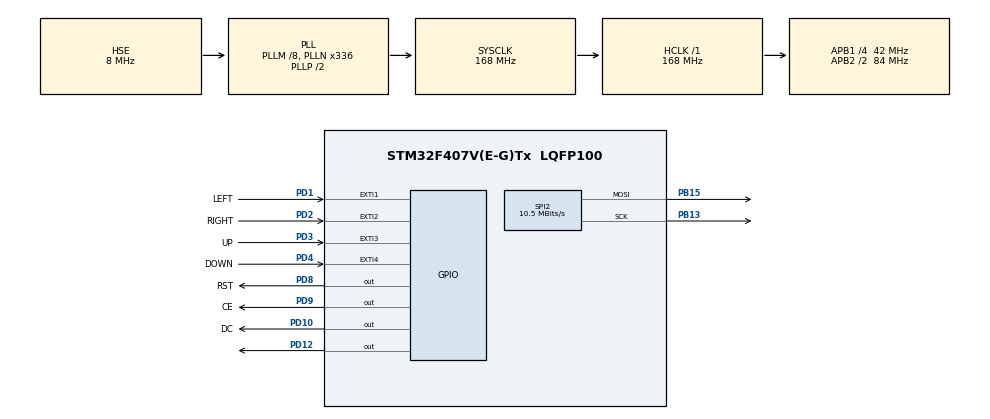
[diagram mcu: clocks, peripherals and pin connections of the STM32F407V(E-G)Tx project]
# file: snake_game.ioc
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Dma.Request0=SPI2_TX
Dma.SPI2_TX.0.Direction=DMA_MEMORY_TO_PERIPH
Dma.SPI2_TX.0.FIFOMode=DMA_FIFOMODE_DISABLE
Dma.SPI2_TX.0.Instance=DMA1_Stream4
Dma.SPI2_TX.0.MemDataAlignment=DMA_MDATAALIGN_BYTE
Dma.SPI2_TX.0.MemInc=DMA_MINC_ENABLE
Dma.SPI2_TX.0.Mode=DMA_NORMAL
Dma.SPI2_TX.0.PeriphDataAlignment=DMA_PDATAALIGN_BYTE
Dma.SPI2_TX.0.PeriphInc=DMA_PINC_DISABLE
Dma.SPI2_TX.0.Priority=DMA_PRIORITY_LOW
Mcu.Family=STM32F4
Mcu.Name=STM32F407V(E-G)Tx
Mcu.Package=LQFP100
NVIC.DMA1_Stream4_IRQn=true\:0\:0\:false\:false\:true\:false\:true
NVIC.EXTI1_IRQn=true\:0\:0\:false\:false\:true\:true\:true
NVIC.EXTI2_IRQn=true\:0\:0\:false\:false\:true\:true\:true
NVIC.EXTI3_IRQn=true\:0\:0\:false\:false\:true\:true\:true
NVIC.EXTI4_IRQn=true\:0\:0\:false\:false\:true\:true\:true
NVIC.PriorityGroup=NVIC_PRIORITYGROUP_4
NVIC.SPI2_IRQn=true\:0\:0\:false\:false\:true\:true\:true
PA13.Mode=Serial_Wire
PA13.Signal=SYS_JTMS-SWDIO
PA14.Mode=Serial_Wire
PA14.Signal=SYS_JTCK-SWCLK
PB13.Mode=TX_Only_Simplex_Unidirect_Master
PB13.Signal=SPI2_SCK
PB15.Mode=TX_Only_Simplex_Unidirect_Master
PB15.Signal=SPI2_MOSI
PC14-OSC32_IN.Mode=LSE-External-Oscillator
PC14-OSC32_IN.Signal=RCC_OSC32_IN
PC15-OSC32_OUT.Mode=LSE-External-Oscillator
PC15-OSC32_OUT.Signal=RCC_OSC32_OUT
PD1.GPIO_Label=LEFT
PD1.Signal=GPXTI1
PD10.GPIO_Label=DC
PD10.Signal=GPIO_Output
PD12.Signal=GPIO_Output
PD2.GPIO_Label=RIGHT
PD2.Signal=GPXTI2
PD3.GPIO_Label=UP
PD3.Signal=GPXTI3
PD4.GPIO_Label=DOWN
PD4.Signal=GPXTI4
PD8.GPIO_Label=RST
PD8.Signal=GPIO_Output
PD9.GPIO_Label=CE
PD9.Signal=GPIO_Output
PH0-OSC_IN.Mode=HSE-External-Oscillator
PH0-OSC_IN.Signal=RCC_OSC_IN
PH1-OSC_OUT.Mode=HSE-External-Oscillator
PH1-OSC_OUT.Signal=RCC_OSC_OUT
ProjectManager.HeapSize=0x200
ProjectManager.StackSize=0x400
ProjectManager.TargetToolchain=MDK-ARM V5.27
RCC.48MHZClocksFreq_Value=84000000
RCC.AHBFreq_Value=168000000
RCC.APB1CLKDivider=RCC_HCLK_DIV4
RCC.APB1Freq_Value=42000000
RCC.APB1TimFreq_Value=84000000
RCC.APB2CLKDivider=RCC_HCLK_DIV2
RCC.APB2Freq_Value=84000000
RCC.APB2TimFreq_Value=168000000
RCC.CortexFreq_Value=168000000
RCC.HCLKFreq_Value=168000000
RCC.HSE_VALUE=8000000
RCC.HSI_VALUE=16000000
RCC.PLLM=8
RCC.PLLN=336
RCC.PLLSourceVirtual=RCC_PLLSOURCE_HSE
RCC.SYSCLKFreq_VALUE=168000000
RCC.SYSCLKSource=RCC_SYSCLKSOURCE_PLLCLK
RCC.VCOOutputFreq_Value=336000000
SPI2.BaudRatePrescaler=SPI_BAUDRATEPRESCALER_4
SPI2.CalculateBaudRate=10.5 MBits/s
SPI2.Direction=SPI_DIRECTION_2LINES
SPI2.Mode=SPI_MODE_MASTER
SPI2.VirtualType=VM_MASTER
board=custom

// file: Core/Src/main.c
/* USER CODE BEGIN Header */
/**
  ******************************************************************************
  * @file           : main.c
  * @brief          : Main program body
  ******************************************************************************
  * @attention
  *
  * <h2><center>&copy; Copyright (c) 2021 STMicroelectronics.
  * All rights reserved.</center></h2>
  *
  * This software component is licensed by ST under BSD 3-Clause license,
  * the "License"; You may not use this file except in compliance with the
  * License. You may obtain a copy of the License at:
  *                        opensource.org/licenses/BSD-3-Clause
  *
  ******************************************************************************
  */
/* USER CODE END Header */
#include "main.h"

/* USER CODE BEGIN Includes */
#include "NOKIA5110.h"
#include "FONT_IMAGE.h"

#include "my_lib.h"
/* USER CODE END Includes */

/* USER CODE BEGIN PTD */
typedef struct Point {
	int x, y;
	int x0, y0;
}Point;
/* USER CODE END PTD */

SPI_HandleTypeDef hspi2;
DMA_HandleTypeDef hdma_spi2_tx;

/* USER CODE BEGIN PV */
int snakeLength; // do dai con ran
int score; // diem
const int DIRECTION = 3;
Point Snake[100]; // con ran
Point direction; // huong di
Point Egg; // do an
int check=0;
/* USER CODE END PV */

void SystemClock_Config(void);
static void MX_GPIO_Init(void);
static void MX_DMA_Init(void);
static void MX_SPI2_Init(void);

/* USER CODE BEGIN 0 */
void drawSnake();
void initGame();
void moveSnake();
void gameOver();

void HAL_GPIO_EXTI_Callback(uint16_t GPIO_Pin)
{
	if(GPIO_Pin == LEFT_Pin)
	{
		HAL_GPIO_TogglePin(GPIOD, GPIO_PIN_12);
		if(direction.x != 3 && direction.y != 0)
		{
			direction.x = -3;
			direction.y = 0;
		}
		for(int i = 0; i < 100000; i++); // Delay
		int timeout;
		while(!HAL_GPIO_ReadPin(GPIOD, GPIO_PIN_1) & (timeout < 50000))
		{
			timeout++;
		}
		EXTI->PR |= GPIO_PIN_1;
	}
	if(GPIO_Pin == RIGHT_Pin)
	{
		HAL_GPIO_TogglePin(GPIOD, GPIO_PIN_12);
		if(direction.x != -3 && direction.y != 0)
		{
			direction.x = 3;
			direction.y = 0;
		}
		for(int i = 0; i < 100000; i++); // Delay
		int timeout;
		while(!HAL_GPIO_ReadPin(GPIOD, GPIO_PIN_2) & (timeout < 50000))
		{
			timeout++;
		}
		EXTI->PR |= GPIO_PIN_2;
	}
	if(GPIO_Pin == UP_Pin)
	{
		HAL_GPIO_TogglePin(GPIOD, GPIO_PIN_12);
		if(direction.x != 0 && direction.y != 3)
		{
			direction.x = 0;
			direction.y = -3;
		}
		for(int i = 0; i < 100000; i++); // Delay
		int timeout;
		while(!HAL_GPIO_ReadPin(GPIOD, GPIO_PIN_3) & (timeout < 50000))
		{
			timeout++;
		}
		EXTI->PR |= GPIO_PIN_3;
	}
	if(GPIO_Pin == DOWN_Pin)
	{
		HAL_GPIO_TogglePin(GPIOD, GPIO_PIN_12);
		if(direction.x != 0 && direction.y != -3)
		{
			direction.x = 0;
			direction.y = 3;
		}
		for(int i = 0; i < 100000; i++); // Delay
		int timeout;
		while(!HAL_GPIO_ReadPin(GPIOD, GPIO_PIN_4) & (timeout < 50000))
		{
			timeout++;
		}
		EXTI->PR |= GPIO_PIN_4;
	}
}
/* USER CODE END 0 */

int main(void)
{

  /* MCU Configuration--------------------------------------------------------*/

  /* Reset of all peripherals, Initializes the Flash interface and the Systick. */
  HAL_Init();

  /* Configure the system clock */
  SystemClock_Config();

  /* Initialize all configured peripherals */
  MX_GPIO_Init();
  MX_DMA_Init();
  MX_SPI2_Init();
  /* USER CODE BEGIN 2 */
	N5110_Init();
	start_game();
	initGame();
  /* USER CODE END 2 */

  /* Infinite loop */
  /* USER CODE BEGIN WHILE */
  while (1)
  {
		if(check == 0)
		{
			N5110_Clear();
			egg(Egg.x, Egg.y);
			moveSnake();
			N5110_Update();
		}
    /* USER CODE END WHILE */

  }
}

void SystemClock_Config(void)
{
  RCC_OscInitTypeDef RCC_OscInitStruct = {0};
  RCC_ClkInitTypeDef RCC_ClkInitStruct = {0};

  /** Configure the main internal regulator output voltage
  */
  __HAL_RCC_PWR_CLK_ENABLE();
  __HAL_PWR_VOLTAGESCALING_CONFIG(PWR_REGULATOR_VOLTAGE_SCALE1);
  /** Initializes the RCC Oscillators according to the specified parameters
  * in the RCC_OscInitTypeDef structure.
  */
  RCC_OscInitStruct.OscillatorType = RCC_OSCILLATORTYPE_HSE;
  RCC_OscInitStruct.HSEState = RCC_HSE_ON;
  RCC_OscInitStruct.PLL.PLLState = RCC_PLL_ON;
  RCC_OscInitStruct.PLL.PLLSource = RCC_PLLSOURCE_HSE;
  RCC_OscInitStruct.PLL.PLLM = 8;
  RCC_OscInitStruct.PLL.PLLN = 336;
  RCC_OscInitStruct.PLL.PLLP = RCC_PLLP_DIV2;
  RCC_OscInitStruct.PLL.PLLQ = 4;
  if (HAL_RCC_OscConfig(&RCC_OscInitStruct) != HAL_OK)
  {
    Error_Handler();
  }
  /** Initializes the CPU, AHB and APB buses clocks
  */
  RCC_ClkInitStruct.ClockType = RCC_CLOCKTYPE_HCLK|RCC_CLOCKTYPE_SYSCLK
                              |RCC_CLOCKTYPE_PCLK1|RCC_CLOCKTYPE_PCLK2;
  RCC_ClkInitStruct.SYSCLKSource = RCC_SYSCLKSOURCE_PLLCLK;
  RCC_ClkInitStruct.AHBCLKDivider = RCC_SYSCLK_DIV1;
  RCC_ClkInitStruct.APB1CLKDivider = RCC_HCLK_DIV4;
  RCC_ClkInitStruct.APB2CLKDivider = RCC_HCLK_DIV2;

  if (HAL_RCC_ClockConfig(&RCC_ClkInitStruct, FLASH_LATENCY_5) != HAL_OK)
  {
    Error_Handler();
  }
}

static void MX_SPI2_Init(void)
{

  /* SPI2 parameter configuration*/
  hspi2.Instance = SPI2;
  hspi2.Init.Mode = SPI_MODE_MASTER;
  hspi2.Init.Direction = SPI_DIRECTION_2LINES;
  hspi2.Init.DataSize = SPI_DATASIZE_8BIT;
  hspi2.Init.CLKPolarity = SPI_POLARITY_LOW;
  hspi2.Init.CLKPhase = SPI_PHASE_1EDGE;
  hspi2.Init.NSS = SPI_NSS_SOFT;
  hspi2.Init.BaudRatePrescaler = SPI_BAUDRATEPRESCALER_4;
  hspi2.Init.FirstBit = SPI_FIRSTBIT_MSB;
  hspi2.Init.TIMode = SPI_TIMODE_DISABLE;
  hspi2.Init.CRCCalculation = SPI_CRCCALCULATION_DISABLE;
  hspi2.Init.CRCPolynomial = 10;
  if (HAL_SPI_Init(&hspi2) != HAL_OK)
  {
    Error_Handler();
  }

}

static void MX_DMA_Init(void)
{

  /* DMA controller clock enable */
  __HAL_RCC_DMA1_CLK_ENABLE();

  /* DMA interrupt init */
  /* DMA1_Stream4_IRQn interrupt configuration */
  HAL_NVIC_SetPriority(DMA1_Stream4_IRQn, 0, 0);
  HAL_NVIC_EnableIRQ(DMA1_Stream4_IRQn);

}

static void MX_GPIO_Init(void)
{
  GPIO_InitTypeDef GPIO_InitStruct = {0};

  /* GPIO Ports Clock Enable */
  __HAL_RCC_GPIOC_CLK_ENABLE();
  __HAL_RCC_GPIOH_CLK_ENABLE();
  __HAL_RCC_GPIOB_CLK_ENABLE();
  __HAL_RCC_GPIOD_CLK_ENABLE();
  __HAL_RCC_GPIOA_CLK_ENABLE();

  /*Configure GPIO pin Output Level */
  HAL_GPIO_WritePin(GPIOD, RST_Pin|CE_Pin|DC_Pin|GPIO_PIN_12, GPIO_PIN_RESET);

  /*Configure GPIO pins : RST_Pin CE_Pin DC_Pin PD12 */
  GPIO_InitStruct.Pin = RST_Pin|CE_Pin|DC_Pin|GPIO_PIN_12;
  GPIO_InitStruct.Mode = GPIO_MODE_OUTPUT_PP;
  GPIO_InitStruct.Pull = GPIO_NOPULL;
  GPIO_InitStruct.Speed = GPIO_SPEED_FREQ_LOW;
  HAL_GPIO_Init(GPIOD, &GPIO_InitStruct);

  /*Configure GPIO pins : LEFT_Pin RIGHT_Pin UP_Pin DOWN_Pin */
  GPIO_InitStruct.Pin = LEFT_Pin|RIGHT_Pin|UP_Pin|DOWN_Pin;
  GPIO_InitStruct.Mode = GPIO_MODE_IT_RISING;
  GPIO_InitStruct.Pull = GPIO_NOPULL;
  HAL_GPIO_Init(GPIOD, &GPIO_InitStruct);

  /* EXTI interrupt init*/
  HAL_NVIC_SetPriority(EXTI1_IRQn, 0, 0);
  HAL_NVIC_EnableIRQ(EXTI1_IRQn);

  HAL_NVIC_SetPriority(EXTI2_IRQn, 0, 0);
  HAL_NVIC_EnableIRQ(EXTI2_IRQn);

  HAL_NVIC_SetPriority(EXTI3_IRQn, 0, 0);
  HAL_NVIC_EnableIRQ(EXTI3_IRQn);

  HAL_NVIC_SetPriority(EXTI4_IRQn, 0, 0);
  HAL_NVIC_EnableIRQ(EXTI4_IRQn);

}

/* USER CODE BEGIN 4 */
bool checkPoint()
{
	for(int i = 0; i < snakeLength; i++)
	{
		if(Egg.x == Snake[i].x && Egg.y == Snake[i].y)
			return false;
	}
	return true;
}

void initGame()
{
	snakeLength = 4;
	score = 0;
	// tao snake
	for (int i = 1; i <= snakeLength; i++)
	{
		Snake[snakeLength-i].x = i*3;
		Snake[snakeLength-i].y = 6;
	}
	Snake[0].x0 = Snake[0].x;
	Snake[0].y0 = Snake[0].y;

	// tao egg
	do {
			Egg.x = (rand()%23 + 1) *3;
			Egg.y = (rand()%15 + 1) *3;
	}while(checkPoint() == false);

	// Huong di
	direction.x = 3;
	direction.y = 0;
}

void drawSnake()
{
	for (int i = 0; i < snakeLength; i++)
	{
		snake(Snake[i].x, Snake[i].y);
	}
}

void moveSnake()
{
	for (int i = 0; i < snakeLength; i++)
	{
		if(i == 0)
		{
			Snake[0].x0 = Snake[0].x;
			Snake[0].y0 = Snake[0].y;
			Snake[0].x += direction.x;
			Snake[0].y += direction.y;
		}
		else
		{
			Snake[i].x0 = Snake[i].x;
			Snake[i].y0 = Snake[i].y;
			Snake[i].x = Snake[i-1].x0;
			Snake[i].y = Snake[i-1].y0;
		}

		if(Snake[i].x >= 84) Snake[i].x -= 84;
		if(Snake[i].x <= 0) Snake[i].x += 84;
		if(Snake[i].y >= 48) Snake[i].y -= 48;
		if(Snake[i].y <= 0) Snake[i].y += 48;

		if(i != 0 && Snake[0].x == Snake[i].x && Snake[0].y == Snake[i].y)
			gameOver();
	}
	HAL_Delay(500);

	if(Snake[0].x == Egg.x && Snake[0].y == Egg.y)
	{
		Snake[snakeLength].x = Snake[snakeLength-1].x0;
		Snake[snakeLength].y = Snake[snakeLength-1].y0;
		snakeLength++;
		score++;
		do {
			Egg.x = (rand()%23 + 1) *3;
			Egg.y = (rand()%15 + 1) *3;
		}while(checkPoint() == false);
	}
	drawSnake();
}

void gameOver()
{
	check = 1;
	char *str_core;
	int div = score%10;
	str_core[0] = div + 0x30;
	int i=1;
	while(score/10)
	{
		score = score/10;
		div = score%10;
		str_core[i] = div + 0x30;
		i++;
	}
	N5110_Clear();
	N5110_SetFont(SmallFont);
	N5110_PrintStr(N5110_MAX_WIDTH/2-(4.5*6), 12, "Game Over", true);
	N5110_PrintStr(N5110_MAX_WIDTH/2-(1*6), 25, str_core, true);
	N5110_Update();
	HAL_Delay(5000);
	initGame();
	check = 0;
}
/* USER CODE END 4 */

void Error_Handler(void)
{
  __disable_irq();
  while (1)
  {
  }
}

/************************ (C) COPYRIGHT STMicroelectronics *****END OF FILE****/
